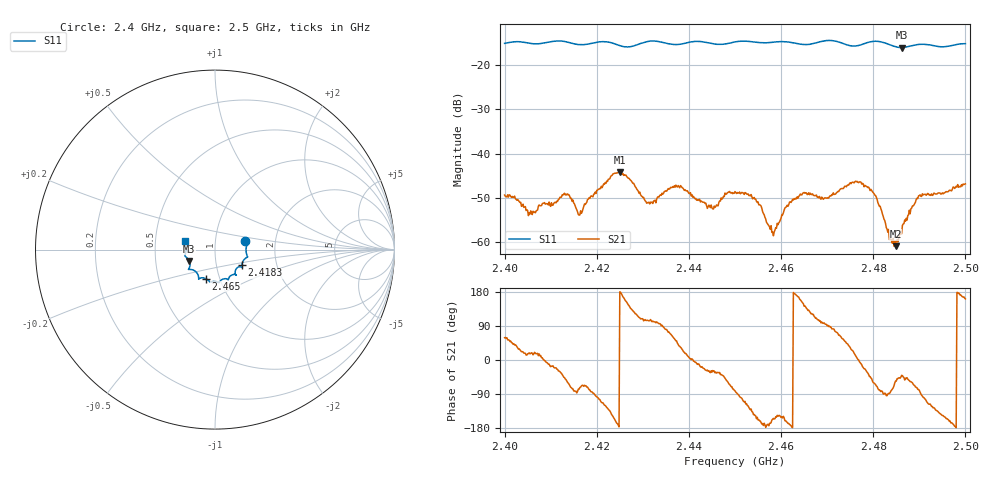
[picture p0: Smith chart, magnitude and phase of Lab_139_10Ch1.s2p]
# Hz S RI R 50
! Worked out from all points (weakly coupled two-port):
!   601 points, 2.4 GHz to 2.5 GHz, reference 50 ohm
!   highest |S21| = -44.20 dB at 2.425 GHz (marker M1); lowest = -60.9 dB at 2.4848 GHz (marker M2)
!   lowest |S11| = -16.1 dB at 2.4862 GHz (marker M3), VSWR 1.37, Z = 37.2 - j4.81 ohm
!   |S11| at or under -10 dB: start of sweep to end of sweep
!   S12 and S22 are empty: the file has one direction only
!   S11 on the Smith chart (normalised r, x): 2.4 GHz: 1.40, +0.13; 2.4183 GHz: 1.33, -0.24; 2.465 GHz: 0.86, -0.28; 2.5 GHz: 0.71, +0.07
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2.4e9  0.1685 0.0465  0.00175 0.00291  0 0  0 0
2.405667e9  0.1742 0.0126  0.00215 0.000676  0 0  0 0
2.4135e9  0.1758 -0.0445  0.00192 -0.00282  0 0  0 0
2.416667e9  0.1546 -0.0676  0.000774 -0.00197  0 0  0 0
2.418333e9  0.1498 -0.0866  0.000639 -0.0031  0 0  0 0
2.425e9  0.1342 -0.0959  -0.00617 3.36e-06  0 0  0 0
2.431e9  0.1166 -0.1415  -0.000717 0.0027  0 0  0 0
2.433333e9  0.1176 -0.1411  -0.000422 0.00323  0 0  0 0
2.437667e9  0.0851 -0.1472  0.00328 0.00286  0 0  0 0
2.445167e9  0.0608 -0.1621  0.0021 -0.0011  0 0  0 0
2.45e9  0.0254 -0.1799  0.00056 -0.00368  0 0  0 0
2.4545e9  0.0116 -0.1797  -0.00258 -0.00162  0 0  0 0
2.4585e9  -0.0206 -0.1796  -0.00118 -0.000539  0 0  0 0
2.465e9  -0.0526 -0.1613  -0.00287 0.00223  0 0  0 0
2.466667e9  -0.0711 -0.1571  -0.00185 0.0029  0 0  0 0
2.477333e9  -0.1255 -0.1123  0.00467 -0.000852  0 0  0 0
2.480333e9  -0.1478 -0.1108  0.00156 -0.00302  0 0  0 0
2.483333e9  -0.1409 -0.0966  4.49e-05 -0.00139  0 0  0 0
2.484833e9  -0.1394 -0.0792  0.000506 -0.000744  0 0  0 0
2.486167e9  -0.1435 -0.063  0.000948 -0.000811  0 0  0 0
2.489833e9  -0.1659 -0.0376  0.000703 -0.00325  0 0  0 0
2.5e9  -0.1671 0.0469  -0.0043 0.00146  0 0  0 0
